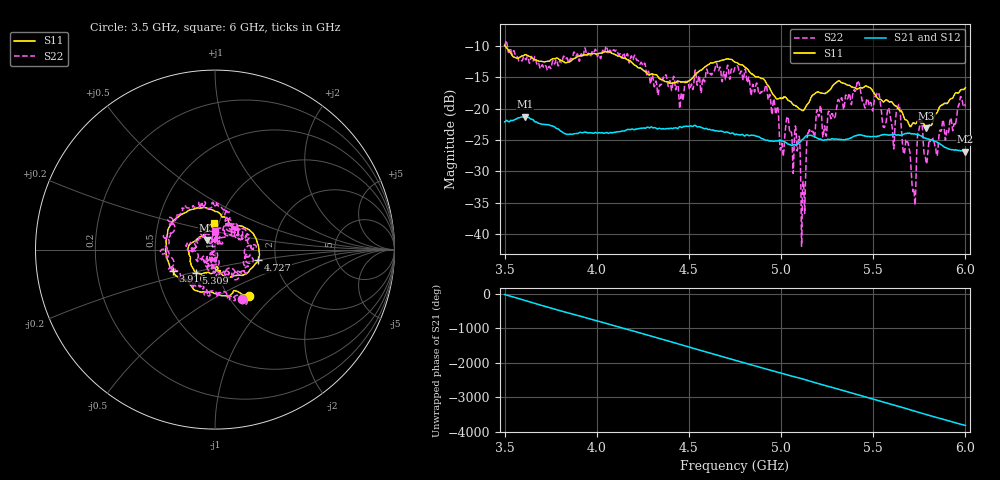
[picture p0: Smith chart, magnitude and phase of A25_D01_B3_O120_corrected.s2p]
! Created with skrf 1.9.0 (http://scikit-rf.org).
# Hz S RI R 50.0
!freq ReS11 ImS11 ReS21 ImS21 ReS12 ImS12 ReS22 ImS22
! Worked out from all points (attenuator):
!   1601 points, 3.5 GHz to 6 GHz, reference 50 ohm
!   highest |S21| = -21.29 dB at 3.611 GHz (marker M1); lowest = -26.9 dB at 6 GHz (marker M2)
!   lowest |S11| = -23.1 dB at 5.787 GHz (marker M3), VSWR 1.15, Z = 45.5 + j4.95 ohm
!   |S11| at or under -10 dB: 3.503 GHz to end of sweep
!   |S22| runs from -41.9 to -9.1 dB; largest |S21 - S12| = 0.0013
!   S11 on the Smith chart (normalised r, x): 3.5 GHz: 1.25, -0.71; 3.916 GHz: 0.61, -0.16; 4.727 GHz: 1.62, -0.21; 5.309 GHz: 0.78, -0.21; 6 GHz: 0.95, +0.28
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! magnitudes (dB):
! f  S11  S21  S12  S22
! 3.5 GHz  -9.9  -22.1  -22.1  -10.1
! 3.611 GHz  -11.4  -21.3  -21.3  -12.0
! 3.916 GHz  -11.6  -23.8  -23.8  -11.3
! 3.917 GHz  -11.6  -23.8  -23.8  -11.2
! 4.334 GHz  -15.0  -23.2  -23.1  -17.6
! 4.727 GHz  -12.1  -24.0  -23.9  -14.4
! 4.75 GHz  -12.6  -24.1  -24.1  -13.4
! 4.927 GHz  -16.2  -25.0  -25.0  -17.8
! 5.005 GHz  -18.3  -25.1  -25.1  -25.5
! 5.034 GHz  -18.5  -25.6  -25.5  -21.3
! 5.088 GHz  -19.7  -25.7  -25.7  -26.7
! 5.119 GHz  -20.3  -24.9  -24.8  -31.7
! 5.147 GHz  -19.2  -24.3  -24.3  -24.0
! 5.167 GHz  -18.0  -24.3  -24.3  -23.6
! 5.309 GHz  -15.6  -24.9  -24.8  -18.6
! 5.419 GHz  -16.8  -24.2  -24.2  -15.7
! 5.584 GHz  -18.9  -24.2  -24.2  -19.9
! 5.639 GHz  -20.2  -24.2  -24.2  -19.3
! 5.719 GHz  -22.2  -24.0  -24.0  -33.0
! 5.753 GHz  -22.1  -24.3  -24.2  -22.8
! 5.787 GHz  -23.1  -24.8  -24.7  -28.6
! 6 GHz  -16.6  -26.9  -26.8  -19.7
